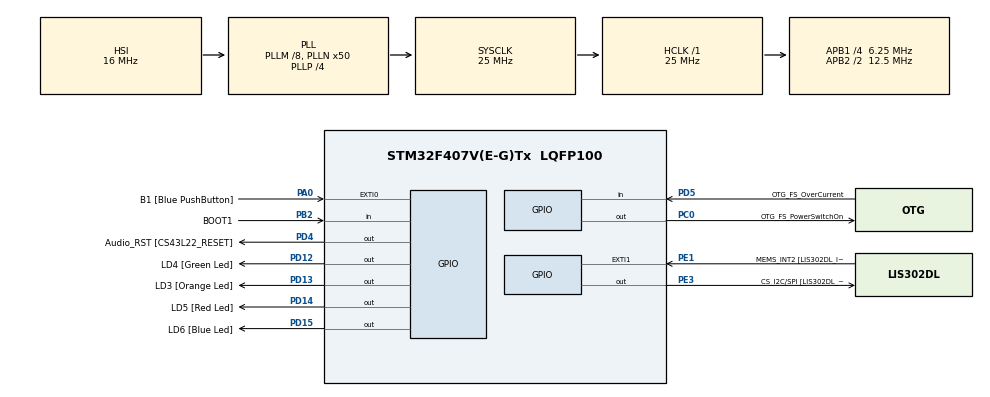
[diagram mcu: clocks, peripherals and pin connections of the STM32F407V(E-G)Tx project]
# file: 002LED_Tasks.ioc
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Mcu.Family=STM32F4
Mcu.Name=STM32F407V(E-G)Tx
Mcu.Package=LQFP100
NVIC.PriorityGroup=NVIC_PRIORITYGROUP_0
NVIC.TIM6_DAC_IRQn=true\:0\:0\:false\:false\:true\:false\:true\:true
NVIC.TimeBase=TIM6_DAC_IRQn
NVIC.TimeBaseIP=TIM6
PA0-WKUP.GPIO_Label=B1 [Blue PushButton]
PA0-WKUP.Signal=GPXTI0
PA10.GPIO_Label=OTG_FS_ID
PA10.GPIO_Mode=GPIO_MODE_AF_PP
PA10.GPIO_PuPd=GPIO_NOPULL
PA10.GPIO_Speed=GPIO_SPEED_FREQ_LOW
PA10.Signal=USB_OTG_FS_ID
PA11.GPIO_Label=OTG_FS_DM
PA11.GPIO_Mode=GPIO_MODE_AF_PP
PA11.GPIO_PuPd=GPIO_NOPULL
PA11.GPIO_Speed=GPIO_SPEED_FREQ_LOW
PA11.Signal=USB_OTG_FS_DM
PA12.GPIO_Label=OTG_FS_DP
PA12.GPIO_Mode=GPIO_MODE_AF_PP
PA12.GPIO_PuPd=GPIO_NOPULL
PA12.GPIO_Speed=GPIO_SPEED_FREQ_LOW
PA12.Signal=USB_OTG_FS_DP
PA13.GPIO_Label=SWDIO
PA13.Signal=SYS_JTMS-SWDIO
PA14.GPIO_Label=SWCLK
PA14.Signal=SYS_JTCK-SWCLK
PA4.GPIO_Label=I2S3_WS [CS43L22_LRCK]
PA4.GPIO_Mode=GPIO_MODE_AF_PP
PA4.GPIO_PuPd=GPIO_NOPULL
PA4.GPIO_Speed=GPIO_SPEED_FREQ_LOW
PA4.Signal=I2S3_WS
PA5.GPIO_Label=SPI1_SCK [LIS302DL_SCL/SPC]
PA5.GPIO_Mode=GPIO_MODE_AF_PP
PA5.GPIO_PuPd=GPIO_NOPULL
PA5.GPIO_Speed=GPIO_SPEED_FREQ_LOW
PA5.Signal=SPI1_SCK
PA6.GPIO_Label=SPI1_MISO [LIS302DL_SDO]
PA6.GPIO_Mode=GPIO_MODE_AF_PP
PA6.GPIO_PuPd=GPIO_NOPULL
PA6.GPIO_Speed=GPIO_SPEED_FREQ_LOW
PA6.Signal=SPI1_MISO
PA7.GPIO_Label=SPI1_MOSI [LIS302DL_SDA/SDI/SDO]
PA7.GPIO_Mode=GPIO_MODE_AF_PP
PA7.GPIO_PuPd=GPIO_NOPULL
PA7.GPIO_Speed=GPIO_SPEED_FREQ_LOW
PA7.Signal=SPI1_MOSI
PA9.GPIO_Label=VBUS_FS
PA9.GPIO_Mode=GPIO_MODE_INPUT
PA9.GPIO_PuPd=GPIO_NOPULL
PA9.Signal=USB_OTG_FS_VBUS
PB10.GPIO_Label=CLK_IN [MP45DT02_CLK]
PB10.GPIO_Mode=GPIO_MODE_AF_PP
PB10.GPIO_PuPd=GPIO_NOPULL
PB10.GPIO_Speed=GPIO_SPEED_FREQ_LOW
PB10.Signal=I2S2_CK
PB2.GPIO_Label=BOOT1
PB2.GPIO_Mode=GPIO_MODE_INPUT
PB2.GPIO_PuPd=GPIO_NOPULL
PB2.Signal=GPIO_Input
PB3.GPIO_Label=SWO
PB3.Signal=SYS_JTDO-SWO
PB6.GPIO_Label=Audio_SCL [CS43L22_SCL]
PB6.GPIO_Mode=GPIO_MODE_AF_OD
PB6.GPIO_PuPd=GPIO_NOPULL
PB6.GPIO_Speed=GPIO_SPEED_FREQ_LOW
PB6.Signal=I2C1_SCL
PB9.GPIO_Label=Audio_SDA [CS43L22_SDA]
PB9.GPIO_Mode=GPIO_MODE_AF_OD
PB9.GPIO_PuPd=GPIO_NOPULL
PB9.GPIO_Speed=GPIO_SPEED_FREQ_LOW
PB9.Signal=I2C1_SDA
PC0.GPIO_Label=OTG_FS_PowerSwitchOn
PC0.GPIO_PuPd=GPIO_NOPULL
PC0.GPIO_Speed=GPIO_SPEED_FREQ_LOW
PC0.PinState=GPIO_PIN_SET
PC0.Signal=GPIO_Output
PC10.GPIO_Label=I2S3_SCK [CS43L22_SCLK]
PC10.GPIO_Mode=GPIO_MODE_AF_PP
PC10.GPIO_PuPd=GPIO_NOPULL
PC10.GPIO_Speed=GPIO_SPEED_FREQ_LOW
PC10.Signal=I2S3_CK
PC12.GPIO_Label=I2S3_SD [CS43L22_SDIN]
PC12.GPIO_Mode=GPIO_MODE_AF_PP
PC12.GPIO_PuPd=GPIO_NOPULL
PC12.GPIO_Speed=GPIO_SPEED_FREQ_LOW
PC12.Signal=I2S3_SD
PC14-OSC32_IN.GPIO_Label=PC14-OSC32_IN
PC14-OSC32_IN.Signal=RCC_OSC32_IN
PC15-OSC32_OUT.GPIO_Label=PC15-OSC32_OUT
PC15-OSC32_OUT.Signal=RCC_OSC32_OUT
PC3.GPIO_Label=PDM_OUT [MP45DT02_DOUT]
PC3.GPIO_Mode=GPIO_MODE_AF_PP
PC3.GPIO_PuPd=GPIO_NOPULL
PC3.GPIO_Speed=GPIO_SPEED_FREQ_LOW
PC3.Signal=I2S2_SD
PC7.GPIO_Label=I2S3_MCK [CS43L22_MCLK]
PC7.GPIO_Mode=GPIO_MODE_AF_PP
PC7.GPIO_PuPd=GPIO_NOPULL
PC7.GPIO_Speed=GPIO_SPEED_FREQ_LOW
PC7.Signal=I2S3_MCK
PD12.GPIO_Label=LD4 [Green Led]
PD12.GPIO_PuPd=GPIO_NOPULL
PD12.GPIO_Speed=GPIO_SPEED_FREQ_LOW
PD12.Signal=GPIO_Output
PD13.GPIO_Label=LD3 [Orange Led]
PD13.GPIO_PuPd=GPIO_NOPULL
PD13.GPIO_Speed=GPIO_SPEED_FREQ_LOW
PD13.Signal=GPIO_Output
PD14.GPIO_Label=LD5 [Red Led]
PD14.GPIO_PuPd=GPIO_NOPULL
PD14.GPIO_Speed=GPIO_SPEED_FREQ_LOW
PD14.Signal=GPIO_Output
PD15.GPIO_Label=LD6 [Blue Led]
PD15.GPIO_PuPd=GPIO_NOPULL
PD15.GPIO_Speed=GPIO_SPEED_FREQ_LOW
PD15.Signal=GPIO_Output
PD4.GPIO_Label=Audio_RST [CS43L22_RESET]
PD4.GPIO_PuPd=GPIO_NOPULL
PD4.GPIO_Speed=GPIO_SPEED_FREQ_LOW
PD4.Signal=GPIO_Output
PD5.GPIO_Label=OTG_FS_OverCurrent
PD5.GPIO_Mode=GPIO_MODE_INPUT
PD5.GPIO_PuPd=GPIO_NOPULL
PD5.Signal=GPIO_Input
PE1.GPIO_Label=MEMS_INT2 [LIS302DL_INT2]
PE1.GPIO_ModeDefaultEXTI=GPIO_MODE_EVT_RISING
PE1.GPIO_PuPd=GPIO_NOPULL
PE1.Signal=GPXTI1
PE3.GPIO_Label=CS_I2C/SPI [LIS302DL_CS_I2C/SPI]
PE3.GPIO_PuPd=GPIO_NOPULL
PE3.GPIO_Speed=GPIO_SPEED_FREQ_LOW
PE3.Signal=GPIO_Output
PH0-OSC_IN.GPIO_Label=PH0-OSC_IN
PH0-OSC_IN.Signal=RCC_OSC_IN
PH1-OSC_OUT.GPIO_Label=PH1-OSC_OUT
PH1-OSC_OUT.Signal=RCC_OSC_OUT
ProjectManager.HeapSize=0x200
ProjectManager.StackSize=0x400
ProjectManager.TargetToolchain=STM32CubeIDE
RCC.48MHZClocksFreq_Value=14285714.285714285
RCC.AHBFreq_Value=25000000
RCC.APB1CLKDivider=RCC_HCLK_DIV4
RCC.APB1Freq_Value=6250000
RCC.APB1TimFreq_Value=12500000
RCC.APB2CLKDivider=RCC_HCLK_DIV2
RCC.APB2Freq_Value=12500000
RCC.APB2TimFreq_Value=25000000
RCC.CortexFreq_Value=25000000
RCC.HCLKFreq_Value=25000000
RCC.HSE_VALUE=8000000
RCC.HSI_VALUE=16000000
RCC.LSE_VALUE=32768
RCC.PLLM=8
RCC.PLLN=50
RCC.PLLP=RCC_PLLP_DIV4
RCC.PLLQ=7
RCC.SYSCLKFreq_VALUE=25000000
RCC.SYSCLKSource=RCC_SYSCLKSOURCE_PLLCLK
RCC.VCOOutputFreq_Value=100000000
VP_SYS_VS_tim6.Mode=TIM6
board=STM32F407G-DISC1

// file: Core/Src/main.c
/* USER CODE BEGIN Header */
/**
  ******************************************************************************
  * @file           : main.c
  * @brief          : Main program body
  ******************************************************************************
  * @attention
  *
  * Copyright (c) 2024 STMicroelectronics.
  * All rights reserved.
  *
  * This software is licensed under terms that can be found in the LICENSE file
  * in the root directory of this software component.
  * If no LICENSE file comes with this software, it is provided AS-IS.
  *
  ******************************************************************************
  */
/* USER CODE END Header */
#include "main.h"

/* USER CODE BEGIN Includes */
#include "FreeRTOS.h"
#include "task.h"
/* USER CODE END Includes */

void SystemClock_Config(void);
static void MX_GPIO_Init(void);
/* USER CODE BEGIN PFP */

static void task_green_led(void *params);
static void task_orange_led(void *params);
static void task_red_led(void *params);

/* USER CODE END PFP */

int main(void)
{
  /* USER CODE BEGIN 1 */

	BaseType_t status;

	TaskHandle_t task_green_led_handle;
	TaskHandle_t task_orange_led_handle;
	TaskHandle_t task_red_led_handle;

  /* USER CODE END 1 */

  /* MCU Configuration--------------------------------------------------------*/

  /* Reset of all peripherals, Initializes the Flash interface and the Systick. */
  HAL_Init();

  /* Configure the system clock */
  SystemClock_Config();

  /* Initialize all configured peripherals */
  MX_GPIO_Init();
  /* USER CODE BEGIN 2 */

  status = xTaskCreate(task_green_led,"Task_Green_LED",200,NULL,2,&task_green_led_handle);

  configASSERT(status == pdPASS);

  status = xTaskCreate(task_orange_led,"Task_Orange_LED",200,NULL,2,&task_orange_led_handle);

  configASSERT(status == pdPASS);

  status = xTaskCreate(task_red_led,"Task_Red_LED",200,NULL,2,&task_red_led_handle);

  configASSERT(status == pdPASS);

  vTaskStartScheduler();

  /* USER CODE END 2 */

  /* Infinite loop */
  while (1)
  {

  }
}

void SystemClock_Config(void)
{
  RCC_OscInitTypeDef RCC_OscInitStruct = {0};
  RCC_ClkInitTypeDef RCC_ClkInitStruct = {0};

  /** Configure the main internal regulator output voltage
  */
  __HAL_RCC_PWR_CLK_ENABLE();
  __HAL_PWR_VOLTAGESCALING_CONFIG(PWR_REGULATOR_VOLTAGE_SCALE1);

  /** Initializes the RCC Oscillators according to the specified parameters
  * in the RCC_OscInitTypeDef structure.
  */
  RCC_OscInitStruct.OscillatorType = RCC_OSCILLATORTYPE_HSI;
  RCC_OscInitStruct.HSIState = RCC_HSI_ON;
  RCC_OscInitStruct.HSICalibrationValue = RCC_HSICALIBRATION_DEFAULT;
  RCC_OscInitStruct.PLL.PLLState = RCC_PLL_ON;
  RCC_OscInitStruct.PLL.PLLSource = RCC_PLLSOURCE_HSI;
  RCC_OscInitStruct.PLL.PLLM = 8;
  RCC_OscInitStruct.PLL.PLLN = 50;
  RCC_OscInitStruct.PLL.PLLP = RCC_PLLP_DIV4;
  RCC_OscInitStruct.PLL.PLLQ = 7;
  if (HAL_RCC_OscConfig(&RCC_OscInitStruct) != HAL_OK)
  {
    Error_Handler();
  }

  /** Initializes the CPU, AHB and APB buses clocks
  */
  RCC_ClkInitStruct.ClockType = RCC_CLOCKTYPE_HCLK|RCC_CLOCKTYPE_SYSCLK
                              |RCC_CLOCKTYPE_PCLK1|RCC_CLOCKTYPE_PCLK2;
  RCC_ClkInitStruct.SYSCLKSource = RCC_SYSCLKSOURCE_PLLCLK;
  RCC_ClkInitStruct.AHBCLKDivider = RCC_SYSCLK_DIV1;
  RCC_ClkInitStruct.APB1CLKDivider = RCC_HCLK_DIV4;
  RCC_ClkInitStruct.APB2CLKDivider = RCC_HCLK_DIV2;

  if (HAL_RCC_ClockConfig(&RCC_ClkInitStruct, FLASH_LATENCY_0) != HAL_OK)
  {
    Error_Handler();
  }
}

static void MX_GPIO_Init(void)
{
  GPIO_InitTypeDef GPIO_InitStruct = {0};

  /* GPIO Ports Clock Enable */
  __HAL_RCC_GPIOE_CLK_ENABLE();
  __HAL_RCC_GPIOC_CLK_ENABLE();
  __HAL_RCC_GPIOH_CLK_ENABLE();
  __HAL_RCC_GPIOA_CLK_ENABLE();
  __HAL_RCC_GPIOB_CLK_ENABLE();
  __HAL_RCC_GPIOD_CLK_ENABLE();

  /*Configure GPIO pin Output Level */
  HAL_GPIO_WritePin(CS_I2C_SPI_GPIO_Port, CS_I2C_SPI_Pin, GPIO_PIN_RESET);

  /*Configure GPIO pin Output Level */
  HAL_GPIO_WritePin(OTG_FS_PowerSwitchOn_GPIO_Port, OTG_FS_PowerSwitchOn_Pin, GPIO_PIN_SET);

  /*Configure GPIO pin Output Level */
  HAL_GPIO_WritePin(GPIOD, LD4_Pin|LD3_Pin|LD5_Pin|LD6_Pin
                          |Audio_RST_Pin, GPIO_PIN_RESET);

  /*Configure GPIO pin : CS_I2C_SPI_Pin */
  GPIO_InitStruct.Pin = CS_I2C_SPI_Pin;
  GPIO_InitStruct.Mode = GPIO_MODE_OUTPUT_PP;
  GPIO_InitStruct.Pull = GPIO_NOPULL;
  GPIO_InitStruct.Speed = GPIO_SPEED_FREQ_LOW;
  HAL_GPIO_Init(CS_I2C_SPI_GPIO_Port, &GPIO_InitStruct);

  /*Configure GPIO pin : OTG_FS_PowerSwitchOn_Pin */
  GPIO_InitStruct.Pin = OTG_FS_PowerSwitchOn_Pin;
  GPIO_InitStruct.Mode = GPIO_MODE_OUTPUT_PP;
  GPIO_InitStruct.Pull = GPIO_NOPULL;
  GPIO_InitStruct.Speed = GPIO_SPEED_FREQ_LOW;
  HAL_GPIO_Init(OTG_FS_PowerSwitchOn_GPIO_Port, &GPIO_InitStruct);

  /*Configure GPIO pin : PDM_OUT_Pin */
  GPIO_InitStruct.Pin = PDM_OUT_Pin;
  GPIO_InitStruct.Mode = GPIO_MODE_AF_PP;
  GPIO_InitStruct.Pull = GPIO_NOPULL;
  GPIO_InitStruct.Speed = GPIO_SPEED_FREQ_LOW;
  GPIO_InitStruct.Alternate = GPIO_AF5_SPI2;
  HAL_GPIO_Init(PDM_OUT_GPIO_Port, &GPIO_InitStruct);

  /*Configure GPIO pin : B1_Pin */
  GPIO_InitStruct.Pin = B1_Pin;
  GPIO_InitStruct.Mode = GPIO_MODE_IT_RISING;
  GPIO_InitStruct.Pull = GPIO_NOPULL;
  HAL_GPIO_Init(B1_GPIO_Port, &GPIO_InitStruct);

  /*Configure GPIO pin : I2S3_WS_Pin */
  GPIO_InitStruct.Pin = I2S3_WS_Pin;
  GPIO_InitStruct.Mode = GPIO_MODE_AF_PP;
  GPIO_InitStruct.Pull = GPIO_NOPULL;
  GPIO_InitStruct.Speed = GPIO_SPEED_FREQ_LOW;
  GPIO_InitStruct.Alternate = GPIO_AF6_SPI3;
  HAL_GPIO_Init(I2S3_WS_GPIO_Port, &GPIO_InitStruct);

  /*Configure GPIO pins : SPI1_SCK_Pin SPI1_MISO_Pin SPI1_MOSI_Pin */
  GPIO_InitStruct.Pin = SPI1_SCK_Pin|SPI1_MISO_Pin|SPI1_MOSI_Pin;
  GPIO_InitStruct.Mode = GPIO_MODE_AF_PP;
  GPIO_InitStruct.Pull = GPIO_NOPULL;
  GPIO_InitStruct.Speed = GPIO_SPEED_FREQ_LOW;
  GPIO_InitStruct.Alternate = GPIO_AF5_SPI1;
  HAL_GPIO_Init(GPIOA, &GPIO_InitStruct);

  /*Configure GPIO pin : BOOT1_Pin */
  GPIO_InitStruct.Pin = BOOT1_Pin;
  GPIO_InitStruct.Mode = GPIO_MODE_INPUT;
  GPIO_InitStruct.Pull = GPIO_NOPULL;
  HAL_GPIO_Init(BOOT1_GPIO_Port, &GPIO_InitStruct);

  /*Configure GPIO pin : CLK_IN_Pin */
  GPIO_InitStruct.Pin = CLK_IN_Pin;
  GPIO_InitStruct.Mode = GPIO_MODE_AF_PP;
  GPIO_InitStruct.Pull = GPIO_NOPULL;
  GPIO_InitStruct.Speed = GPIO_SPEED_FREQ_LOW;
  GPIO_InitStruct.Alternate = GPIO_AF5_SPI2;
  HAL_GPIO_Init(CLK_IN_GPIO_Port, &GPIO_InitStruct);

  /*Configure GPIO pins : LD4_Pin LD3_Pin LD5_Pin LD6_Pin
                           Audio_RST_Pin */
  GPIO_InitStruct.Pin = LD4_Pin|LD3_Pin|LD5_Pin|LD6_Pin
                          |Audio_RST_Pin;
  GPIO_InitStruct.Mode = GPIO_MODE_OUTPUT_PP;
  GPIO_InitStruct.Pull = GPIO_NOPULL;
  GPIO_InitStruct.Speed = GPIO_SPEED_FREQ_LOW;
  HAL_GPIO_Init(GPIOD, &GPIO_InitStruct);

  /*Configure GPIO pins : I2S3_MCK_Pin I2S3_SCK_Pin I2S3_SD_Pin */
  GPIO_InitStruct.Pin = I2S3_MCK_Pin|I2S3_SCK_Pin|I2S3_SD_Pin;
  GPIO_InitStruct.Mode = GPIO_MODE_AF_PP;
  GPIO_InitStruct.Pull = GPIO_NOPULL;
  GPIO_InitStruct.Speed = GPIO_SPEED_FREQ_LOW;
  GPIO_InitStruct.Alternate = GPIO_AF6_SPI3;
  HAL_GPIO_Init(GPIOC, &GPIO_InitStruct);

  /*Configure GPIO pin : VBUS_FS_Pin */
  GPIO_InitStruct.Pin = VBUS_FS_Pin;
  GPIO_InitStruct.Mode = GPIO_MODE_INPUT;
  GPIO_InitStruct.Pull = GPIO_NOPULL;
  HAL_GPIO_Init(VBUS_FS_GPIO_Port, &GPIO_InitStruct);

  /*Configure GPIO pins : OTG_FS_ID_Pin OTG_FS_DM_Pin OTG_FS_DP_Pin */
  GPIO_InitStruct.Pin = OTG_FS_ID_Pin|OTG_FS_DM_Pin|OTG_FS_DP_Pin;
  GPIO_InitStruct.Mode = GPIO_MODE_AF_PP;
  GPIO_InitStruct.Pull = GPIO_NOPULL;
  GPIO_InitStruct.Speed = GPIO_SPEED_FREQ_LOW;
  GPIO_InitStruct.Alternate = GPIO_AF10_OTG_FS;
  HAL_GPIO_Init(GPIOA, &GPIO_InitStruct);

  /*Configure GPIO pin : OTG_FS_OverCurrent_Pin */
  GPIO_InitStruct.Pin = OTG_FS_OverCurrent_Pin;
  GPIO_InitStruct.Mode = GPIO_MODE_INPUT;
  GPIO_InitStruct.Pull = GPIO_NOPULL;
  HAL_GPIO_Init(OTG_FS_OverCurrent_GPIO_Port, &GPIO_InitStruct);

  /*Configure GPIO pins : Audio_SCL_Pin Audio_SDA_Pin */
  GPIO_InitStruct.Pin = Audio_SCL_Pin|Audio_SDA_Pin;
  GPIO_InitStruct.Mode = GPIO_MODE_AF_OD;
  GPIO_InitStruct.Pull = GPIO_NOPULL;
  GPIO_InitStruct.Speed = GPIO_SPEED_FREQ_LOW;
  GPIO_InitStruct.Alternate = GPIO_AF4_I2C1;
  HAL_GPIO_Init(GPIOB, &GPIO_InitStruct);

  /*Configure GPIO pin : MEMS_INT2_Pin */
  GPIO_InitStruct.Pin = MEMS_INT2_Pin;
  GPIO_InitStruct.Mode = GPIO_MODE_EVT_RISING;
  GPIO_InitStruct.Pull = GPIO_NOPULL;
  HAL_GPIO_Init(MEMS_INT2_GPIO_Port, &GPIO_InitStruct);

}

/* USER CODE BEGIN 4 */

static void task_green_led(void *params)
{
	while(1)
	{
		HAL_GPIO_TogglePin(GPIOD,GREEN_LED_PIN);
		HAL_Delay(1000);
	}
}

static void task_orange_led(void *params)
{
	while(1)
	{
		HAL_GPIO_TogglePin(GPIOD,ORANGE_LED_PIN);
		HAL_Delay(800);
	}
}

static void task_red_led(void *params)
{
	while(1)
	{
		HAL_GPIO_TogglePin(GPIOD,RED_LED_PIN);
		HAL_Delay(400);
	}
}

/* USER CODE END 4 */

void HAL_TIM_PeriodElapsedCallback(TIM_HandleTypeDef *htim)
{
  if (htim->Instance == TIM6) {
    HAL_IncTick();
  }
}

void Error_Handler(void)
{
  __disable_irq();
  while (1)
  {
  }
}
